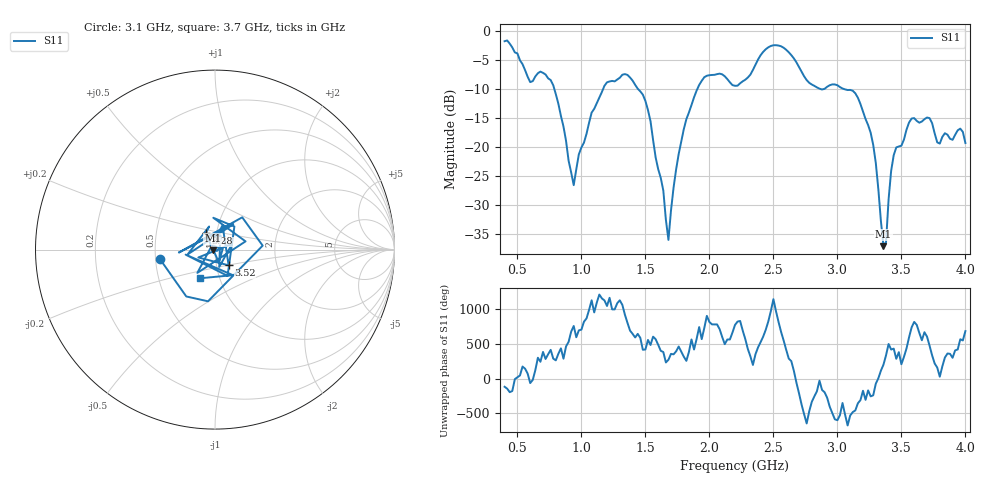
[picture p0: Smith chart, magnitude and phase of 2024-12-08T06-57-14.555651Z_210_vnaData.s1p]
!Created with skrf (http://scikit-rf.org).
# Hz S RI R 50.0
!freq ReS11 ImS11
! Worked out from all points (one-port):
!   181 points, 400 MHz to 4 GHz, reference 50 ohm
!   lowest |S11| = -37.1 dB at 3.36 GHz (marker M1), VSWR 1.03, Z = 48.7 - j0.454 ohm
!   |S11| at or under -10 dB: 788.7 MHz to 1.169 GHz (380.7 MHz wide, 38.9 % of centre); 1.443 GHz to 1.905 GHz (462.5 MHz wide, 27.6 % of centre); 3.053 GHz to end of sweep (the widest 3 of 4)
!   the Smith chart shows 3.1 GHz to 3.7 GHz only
!   S11 on the Smith chart (normalised r, x): 3.1 GHz: 0.53, -0.06; 3.28 GHz: 0.89, +0.16; 3.52 GHz: 1.15, -0.20; 3.7 GHz: 0.81, -0.27
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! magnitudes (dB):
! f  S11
! 400 MHz  -1.7
! 600 MHz  -8.8
! 760 MHz  -8.4
! 860 MHz  -16.5
! 940 MHz  -26.6
! 1.08 GHz  -14.1
! 1.3 GHz  -8.0
! 1.5 GHz  -12.0
! 1.64 GHz  -27.5
! 1.68 GHz  -36.0
! 1.76 GHz  -21.2
! 1.96 GHz  -8.0
! 2.2 GHz  -9.4
! 2.48 GHz  -2.6
! 2.66 GHz  -4.7
! 2.84 GHz  -9.7
! 3.1 GHz  -10.1
! 3.28 GHz  -19.7
! 3.36 GHz  -37.1
! 3.38 GHz  -36.4
! 3.4 GHz  -29.0
! 3.44 GHz  -21.4
! 3.52 GHz  -18.7
! 3.56 GHz  -15.8
! 3.7 GHz  -14.9
! 3.78 GHz  -19.2
! 3.96 GHz  -16.8
! 4 GHz  -19.3
